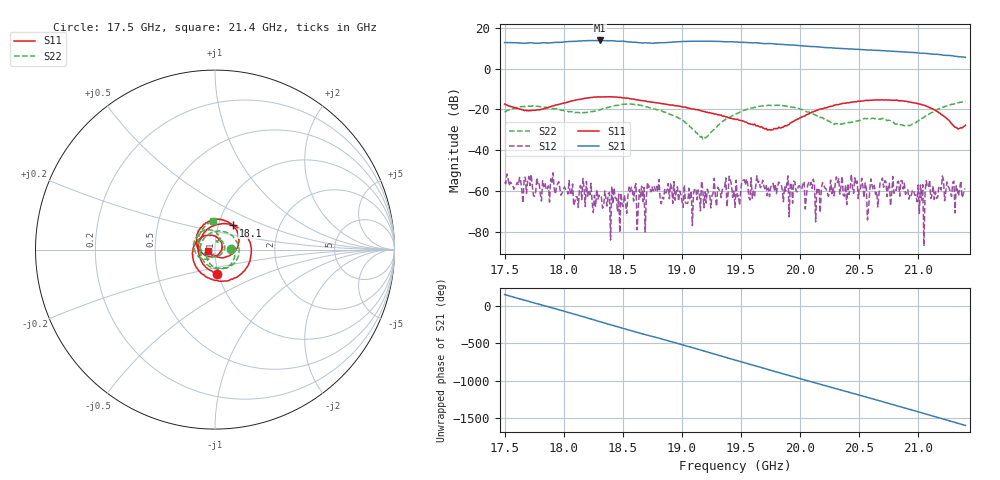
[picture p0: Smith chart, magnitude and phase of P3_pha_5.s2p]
!Created with skrf (http://scikit-rf.org).
# GHz S RI R 50.0
!freq ReS11 ImS11 ReS21 ImS21 ReS12 ImS12 ReS22 ImS22
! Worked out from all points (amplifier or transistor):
!   401 points, 17.5 GHz to 21.4 GHz, reference 50 ohm
!   highest |S21| = 13.7 dB at 18.31 GHz (marker M1)
!   |S21| within 3 dB of that: start of sweep to 20.1 GHz
!   unconditionally stable (mu >= 1): start of sweep to end of sweep
!   at 18.14 GHz: K = 73.74, MAG = 13.7 dB, |S12| = -57.2 dB
!   at 19.45 GHz: K = 275.44, MAG = 13.0 dB, |S12| = -67.9 dB
!   at 21.4 GHz: K = 224.55, MAG = 5.6 dB, |S12| = -58.8 dB
!   S11 on the Smith chart (normalised r, x): 17.5 GHz: 0.99, -0.27; 18.1 GHz: 1.18, +0.33; 21.4 GHz: 0.92, -0.01
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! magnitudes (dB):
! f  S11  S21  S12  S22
! 17.5 GHz  -17.4  12.7  -55.5  -21.2
! 17.91 GHz  -18.3  12.7  -51.0  -19.6
! 18.1 GHz  -15.4  13.4  -62.6  -21.4
! 18.15 GHz  -14.9  13.5  -64.1  -21.3
! 18.31 GHz  -13.9  13.7  -63.3  -20.2
! 18.81 GHz  -16.9  12.6  -54.2  -20.5
! 19.18 GHz  -20.9  13.4  -58.8  -34.5
! 19.45 GHz  -24.8  13.0  -67.9  -22.3
! 19.53 GHz  -25.9  12.8  -54.3  -20.4
! 19.59 GHz  -27.3  12.5  -53.5  -19.3
! 19.75 GHz  -30.0  12.2  -57.9  -18.1
! 20.1 GHz  -21.2  10.7  -58.6  -22.1
! 20.15 GHz  -20.3  10.6  -60.4  -23.1
! 20.32 GHz  -17.7  9.9  -55.8  -27.0
! 20.54 GHz  -15.7  9.2  -63.2  -24.5
! 20.56 GHz  -15.6  9.1  -58.7  -24.5
! 20.7 GHz  -15.3  8.7  -53.6  -24.3
! 20.76 GHz  -15.4  8.6  -56.1  -25.3
! 20.84 GHz  -15.7  8.3  -62.4  -27.5
! 21.03 GHz  -17.6  7.5  -64.4  -24.5
! 21.08 GHz  -18.6  7.3  -57.8  -22.7
! 21.4 GHz  -27.7  5.5  -58.8  -16.0
